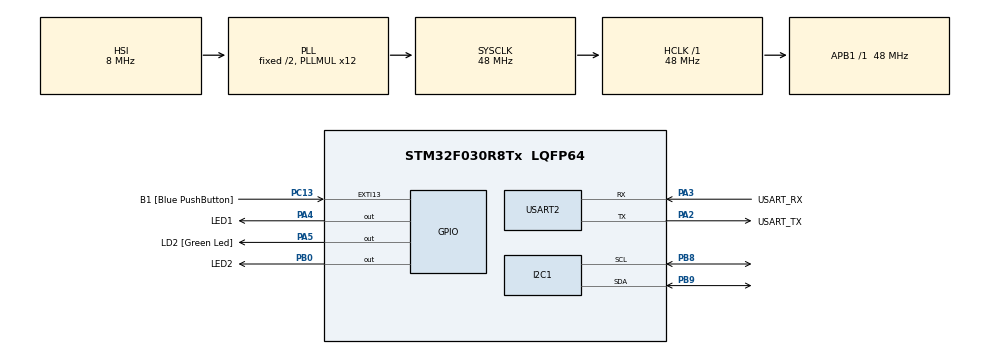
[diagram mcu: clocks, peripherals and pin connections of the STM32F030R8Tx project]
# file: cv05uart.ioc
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Dma.Request0=USART2_RX
Dma.USART2_RX.0.Direction=DMA_PERIPH_TO_MEMORY
Dma.USART2_RX.0.Instance=DMA1_Channel5
Dma.USART2_RX.0.MemDataAlignment=DMA_MDATAALIGN_BYTE
Dma.USART2_RX.0.MemInc=DMA_MINC_ENABLE
Dma.USART2_RX.0.Mode=DMA_CIRCULAR
Dma.USART2_RX.0.PeriphDataAlignment=DMA_PDATAALIGN_BYTE
Dma.USART2_RX.0.PeriphInc=DMA_PINC_DISABLE
Dma.USART2_RX.0.Priority=DMA_PRIORITY_LOW
I2C1.Timing=0x00201D2B
Mcu.Family=STM32F0
Mcu.Name=STM32F030R8Tx
Mcu.Package=LQFP64
NVIC.DMA1_Channel4_5_IRQn=true\:0\:0\:false\:false\:true\:false\:true\:true
PA13.GPIO_Label=TMS
PA13.Mode=Serial_Wire
PA13.Signal=SYS_SWDIO
PA14.GPIO_Label=TCK
PA14.Mode=Serial_Wire
PA14.Signal=SYS_SWCLK
PA2.GPIO_Label=USART_TX
PA2.GPIO_Mode=GPIO_MODE_AF_PP
PA2.GPIO_PuPd=GPIO_NOPULL
PA2.GPIO_Speed=GPIO_SPEED_FREQ_LOW
PA2.Mode=Asynchronous
PA2.Signal=USART2_TX
PA3.GPIO_Label=USART_RX
PA3.GPIO_Mode=GPIO_MODE_AF_PP
PA3.GPIO_PuPd=GPIO_NOPULL
PA3.GPIO_Speed=GPIO_SPEED_FREQ_LOW
PA3.Mode=Asynchronous
PA3.Signal=USART2_RX
PA4.GPIO_Label=LED1
PA4.Signal=GPIO_Output
PA5.GPIO_Label=LD2 [Green Led]
PA5.GPIO_Mode=GPIO_MODE_OUTPUT_PP
PA5.GPIO_PuPd=GPIO_NOPULL
PA5.GPIO_Speed=GPIO_SPEED_FREQ_LOW
PA5.Signal=GPIO_Output
PB0.GPIO_Label=LED2
PB0.Signal=GPIO_Output
PB8.Mode=I2C
PB8.Signal=I2C1_SCL
PB9.Mode=I2C
PB9.Signal=I2C1_SDA
PC13.GPIO_Label=B1 [Blue PushButton]
PC13.GPIO_ModeDefaultEXTI=GPIO_MODE_IT_FALLING
PC13.Signal=GPXTI13
PC14-OSC32_IN.Mode=LSE-External-Oscillator
PC14-OSC32_IN.Signal=RCC_OSC32_IN
PC15-OSC32_OUT.Mode=LSE-External-Oscillator
PC15-OSC32_OUT.Signal=RCC_OSC32_OUT
PF0-OSC_IN.Mode=HSE-External-Clock-Source
PF0-OSC_IN.Signal=RCC_OSC_IN
PF1-OSC_OUT.Signal=RCC_OSC_OUT
ProjectManager.HeapSize=0x200
ProjectManager.StackSize=0x400
ProjectManager.TargetToolchain=STM32CubeIDE
RCC.AHBFreq_Value=48000000
RCC.APB1Freq_Value=48000000
RCC.APB1TimFreq_Value=48000000
RCC.HCLKFreq_Value=48000000
RCC.PLLMUL=RCC_PLL_MUL12
RCC.SYSCLKFreq_VALUE=48000000
RCC.SYSCLKSource=RCC_SYSCLKSOURCE_PLLCLK
USART2.VirtualMode-Asynchronous=VM_ASYNC
board=NUCLEO-F030R8

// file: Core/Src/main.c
/* USER CODE BEGIN Header */
/**
  ******************************************************************************
  * @file           : main.c
  * @brief          : Main program body
  ******************************************************************************
  * @attention
  *
  * Copyright (c) 2024 STMicroelectronics.
  * All rights reserved.
  *
  * This software is licensed under terms that can be found in the LICENSE file
  * in the root directory of this software component.
  * If no LICENSE file comes with this software, it is provided AS-IS.
  *
  ******************************************************************************
  */
/* USER CODE END Header */
#include "main.h"

/* USER CODE BEGIN Includes */
#include <stdio.h>
#include <string.h>
#include <stdlib.h>
/* USER CODE END Includes */

/* USER CODE BEGIN PTD */
#define RX_BUFFER_LEN 64
static uint8_t uart_rx_buf[RX_BUFFER_LEN];
static volatile uint16_t uart_rx_read_ptr = 0;
#define uart_rx_write_ptr (RX_BUFFER_LEN - hdma_usart2_rx.Instance->CNDTR)
#define CMD_BUFFER_LEN 256
#define EEPROM_ADDR 0xA0
/* USER CODE END PTD */

I2C_HandleTypeDef hi2c1;

UART_HandleTypeDef huart2;
DMA_HandleTypeDef hdma_usart2_rx;

void SystemClock_Config(void);
static void MX_GPIO_Init(void);
static void MX_DMA_Init(void);
static void MX_USART2_UART_Init(void);
static void MX_I2C1_Init(void);

/* USER CODE BEGIN 0 */
int _write(int file, char const *buf, int n)
{
/* stdout redirection to UART2 */
	HAL_UART_Transmit(&huart2, (uint8_t*)(buf), n, HAL_MAX_DELAY);
	return n;
}
static void uart_process_command(char *cmd)
{
	//printf("prijato: '%s'\n", cmd);
	char *token;
	uint16_t addr;
	uint8_t value;

	token = strtok(cmd, " ");
	if (strcasecmp(token, "HELLO") == 0)
	{
		printf("Komunikace OK\n");
	}
	else if(strcasecmp(token, "LED1") == 0)
	{
		token = strtok(NULL, " ");
		if (strcasecmp(token, "ON") == 0)
		{
			HAL_GPIO_WritePin(LED1_GPIO_Port, LED1_Pin, GPIO_PIN_SET);
		}
		else if (strcasecmp(token, "OFF") == 0)
		{
			HAL_GPIO_WritePin(LED1_GPIO_Port, LED1_Pin, GPIO_PIN_RESET);
		}
		printf("OK\n");
	}
	else if(strcasecmp(token, "LED2") == 0)
	{
		token = strtok(NULL, " ");
		if (strcasecmp(token, "ON") == 0)
		{
			HAL_GPIO_WritePin(LED2_GPIO_Port, LED2_Pin, GPIO_PIN_SET);
		}
		else if (strcasecmp(token, "OFF") == 0)
		{
			HAL_GPIO_WritePin(LED2_GPIO_Port, LED2_Pin, GPIO_PIN_RESET);
		}
		printf("OK\n");
	}
	else if(strcasecmp(token,"STATUS")==0)
	{
		if (HAL_GPIO_ReadPin(LED1_GPIO_Port, LED1_Pin))
		{
			printf("LED1 ON\n");
		}
		else
		{
			printf("LED1 OFF\n");
		}

		if (HAL_GPIO_ReadPin(LED2_GPIO_Port, LED2_Pin))
		{
			printf("LED2 ON\n");
		}
		else
		{
			printf("LED2 OFF\n");
		}
	}
	else if(strcasecmp(token, "READ") == 0)
	{
		token = strtok(NULL, " ");
		addr = atoi(token);
		HAL_I2C_Mem_Read(&hi2c1, EEPROM_ADDR, addr, I2C_MEMADD_SIZE_16BIT, &value, 1, 1000);
		printf("Adresa 0x%04X = 0x%04X\n",addr,value);
	}

	else if(strcasecmp(token, "WRITE") == 0)
	{
		token = strtok(NULL, " ");
		addr = atoi(token);
		token = strtok(NULL, " ");
		value = atoi(token);
		HAL_I2C_Mem_Write(&hi2c1, EEPROM_ADDR, addr, I2C_MEMADD_SIZE_16BIT, &value, 1, 1000);
		while (HAL_I2C_IsDeviceReady(&hi2c1, EEPROM_ADDR, 300, 1000) == HAL_TIMEOUT) {} ;
		printf("OK\n");
	}
	else if (strcasecmp(token,"DUMP")==0)
	{
		uint8_t value[16];
		HAL_I2C_Mem_Read(&hi2c1, EEPROM_ADDR, 0, I2C_MEMADD_SIZE_16BIT, value, 16, 1000);
		for(uint8_t i =0;i<16;i++)
		{
			//printf("Adresa 0x%04X = 0x%04X\n",i,value[i]);
			if(i == 8)
			{
				printf("\n");
			}
			printf("%02X=%02X ",i,value[i]);
		}
		printf("\n");
	}
}
static void uart_byte_available(uint8_t c)
{
	static uint16_t cnt;
	static char data[CMD_BUFFER_LEN];
	if (cnt < CMD_BUFFER_LEN && c >= 32 && c <= 126) data[cnt++] = c;
	if ((c == '\n' || c == '\r') && cnt > 0) {
		data[cnt] = '\0';
		uart_process_command(data);
		cnt = 0;
	}
}

/* USER CODE END 0 */

int main(void)
{

  /* MCU Configuration--------------------------------------------------------*/

  /* Reset of all peripherals, Initializes the Flash interface and the Systick. */
  HAL_Init();

  /* Initialize all configured peripherals */
  MX_GPIO_Init();
  MX_DMA_Init();
  MX_USART2_UART_Init();
  MX_I2C1_Init();
  /* USER CODE BEGIN 2 */
  HAL_UART_Receive_DMA(&huart2, uart_rx_buf, RX_BUFFER_LEN);
  /* USER CODE END 2 */

  /* Infinite loop */
  /* USER CODE BEGIN WHILE */
  while (1)
  {
	  //uint8_t c;
	  //HAL_UART_Receive(&huart2, &c, 1, HAL_MAX_DELAY);
	  //HAL_UART_Transmit(&huart2, &c, 1, HAL_MAX_DELAY);

	  while (uart_rx_read_ptr != uart_rx_write_ptr) {
	  uint8_t b = uart_rx_buf[uart_rx_read_ptr];
	  if (++uart_rx_read_ptr >= RX_BUFFER_LEN) uart_rx_read_ptr = 0; // increase read pointer
	  uart_byte_available(b); // process every received byte with the RX state machine
	  }
    /* USER CODE END WHILE */

  }
}

void SystemClock_Config(void)
{
  RCC_OscInitTypeDef RCC_OscInitStruct = {0};
  RCC_ClkInitTypeDef RCC_ClkInitStruct = {0};
  RCC_PeriphCLKInitTypeDef PeriphClkInit = {0};

  /** Initializes the RCC Oscillators according to the specified parameters
  * in the RCC_OscInitTypeDef structure.
  */
  RCC_OscInitStruct.OscillatorType = RCC_OSCILLATORTYPE_HSI;
  RCC_OscInitStruct.HSIState = RCC_HSI_ON;
  RCC_OscInitStruct.HSICalibrationValue = RCC_HSICALIBRATION_DEFAULT;
  RCC_OscInitStruct.PLL.PLLState = RCC_PLL_ON;
  RCC_OscInitStruct.PLL.PLLSource = RCC_PLLSOURCE_HSI;
  RCC_OscInitStruct.PLL.PLLMUL = RCC_PLL_MUL12;
  RCC_OscInitStruct.PLL.PREDIV = RCC_PREDIV_DIV1;
  if (HAL_RCC_OscConfig(&RCC_OscInitStruct) != HAL_OK)
  {
    Error_Handler();
  }

  /** Initializes the CPU, AHB and APB buses clocks
  */
  RCC_ClkInitStruct.ClockType = RCC_CLOCKTYPE_HCLK|RCC_CLOCKTYPE_SYSCLK
                              |RCC_CLOCKTYPE_PCLK1;
  RCC_ClkInitStruct.SYSCLKSource = RCC_SYSCLKSOURCE_PLLCLK;
  RCC_ClkInitStruct.AHBCLKDivider = RCC_SYSCLK_DIV1;
  RCC_ClkInitStruct.APB1CLKDivider = RCC_HCLK_DIV1;

  if (HAL_RCC_ClockConfig(&RCC_ClkInitStruct, FLASH_LATENCY_1) != HAL_OK)
  {
    Error_Handler();
  }
  PeriphClkInit.PeriphClockSelection = RCC_PERIPHCLK_I2C1;
  PeriphClkInit.I2c1ClockSelection = RCC_I2C1CLKSOURCE_HSI;
  if (HAL_RCCEx_PeriphCLKConfig(&PeriphClkInit) != HAL_OK)
  {
    Error_Handler();
  }
}

static void MX_I2C1_Init(void)
{

  hi2c1.Instance = I2C1;
  hi2c1.Init.Timing = 0x00201D2B;
  hi2c1.Init.OwnAddress1 = 0;
  hi2c1.Init.AddressingMode = I2C_ADDRESSINGMODE_7BIT;
  hi2c1.Init.DualAddressMode = I2C_DUALADDRESS_DISABLE;
  hi2c1.Init.OwnAddress2 = 0;
  hi2c1.Init.OwnAddress2Masks = I2C_OA2_NOMASK;
  hi2c1.Init.GeneralCallMode = I2C_GENERALCALL_DISABLE;
  hi2c1.Init.NoStretchMode = I2C_NOSTRETCH_DISABLE;
  if (HAL_I2C_Init(&hi2c1) != HAL_OK)
  {
    Error_Handler();
  }

  /** Configure Analogue filter
  */
  if (HAL_I2CEx_ConfigAnalogFilter(&hi2c1, I2C_ANALOGFILTER_ENABLE) != HAL_OK)
  {
    Error_Handler();
  }

  /** Configure Digital filter
  */
  if (HAL_I2CEx_ConfigDigitalFilter(&hi2c1, 0) != HAL_OK)
  {
    Error_Handler();
  }

}

static void MX_USART2_UART_Init(void)
{

  huart2.Instance = USART2;
  huart2.Init.BaudRate = 38400;
  huart2.Init.WordLength = UART_WORDLENGTH_8B;
  huart2.Init.StopBits = UART_STOPBITS_1;
  huart2.Init.Parity = UART_PARITY_NONE;
  huart2.Init.Mode = UART_MODE_TX_RX;
  huart2.Init.HwFlowCtl = UART_HWCONTROL_NONE;
  huart2.Init.OverSampling = UART_OVERSAMPLING_16;
  huart2.Init.OneBitSampling = UART_ONE_BIT_SAMPLE_DISABLE;
  huart2.AdvancedInit.AdvFeatureInit = UART_ADVFEATURE_NO_INIT;
  if (HAL_UART_Init(&huart2) != HAL_OK)
  {
    Error_Handler();
  }

}

static void MX_DMA_Init(void)
{

  /* DMA controller clock enable */
  __HAL_RCC_DMA1_CLK_ENABLE();

  /* DMA interrupt init */
  /* DMA1_Channel4_5_IRQn interrupt configuration */
  HAL_NVIC_SetPriority(DMA1_Channel4_5_IRQn, 0, 0);
  HAL_NVIC_EnableIRQ(DMA1_Channel4_5_IRQn);

}

static void MX_GPIO_Init(void)
{
  GPIO_InitTypeDef GPIO_InitStruct = {0};

  /* GPIO Ports Clock Enable */
  __HAL_RCC_GPIOC_CLK_ENABLE();
  __HAL_RCC_GPIOF_CLK_ENABLE();
  __HAL_RCC_GPIOA_CLK_ENABLE();
  __HAL_RCC_GPIOB_CLK_ENABLE();

  /*Configure GPIO pin Output Level */
  HAL_GPIO_WritePin(GPIOA, LED1_Pin|LD2_Pin, GPIO_PIN_RESET);

  /*Configure GPIO pin Output Level */
  HAL_GPIO_WritePin(LED2_GPIO_Port, LED2_Pin, GPIO_PIN_RESET);

  /*Configure GPIO pin : B1_Pin */
  GPIO_InitStruct.Pin = B1_Pin;
  GPIO_InitStruct.Mode = GPIO_MODE_IT_FALLING;
  GPIO_InitStruct.Pull = GPIO_NOPULL;
  HAL_GPIO_Init(B1_GPIO_Port, &GPIO_InitStruct);

  /*Configure GPIO pins : LED1_Pin LD2_Pin */
  GPIO_InitStruct.Pin = LED1_Pin|LD2_Pin;
  GPIO_InitStruct.Mode = GPIO_MODE_OUTPUT_PP;
  GPIO_InitStruct.Pull = GPIO_NOPULL;
  GPIO_InitStruct.Speed = GPIO_SPEED_FREQ_LOW;
  HAL_GPIO_Init(GPIOA, &GPIO_InitStruct);

  /*Configure GPIO pin : LED2_Pin */
  GPIO_InitStruct.Pin = LED2_Pin;
  GPIO_InitStruct.Mode = GPIO_MODE_OUTPUT_PP;
  GPIO_InitStruct.Pull = GPIO_NOPULL;
  GPIO_InitStruct.Speed = GPIO_SPEED_FREQ_LOW;
  HAL_GPIO_Init(LED2_GPIO_Port, &GPIO_InitStruct);

}

void Error_Handler(void)
{
  __disable_irq();
  while (1)
  {
  }
}
